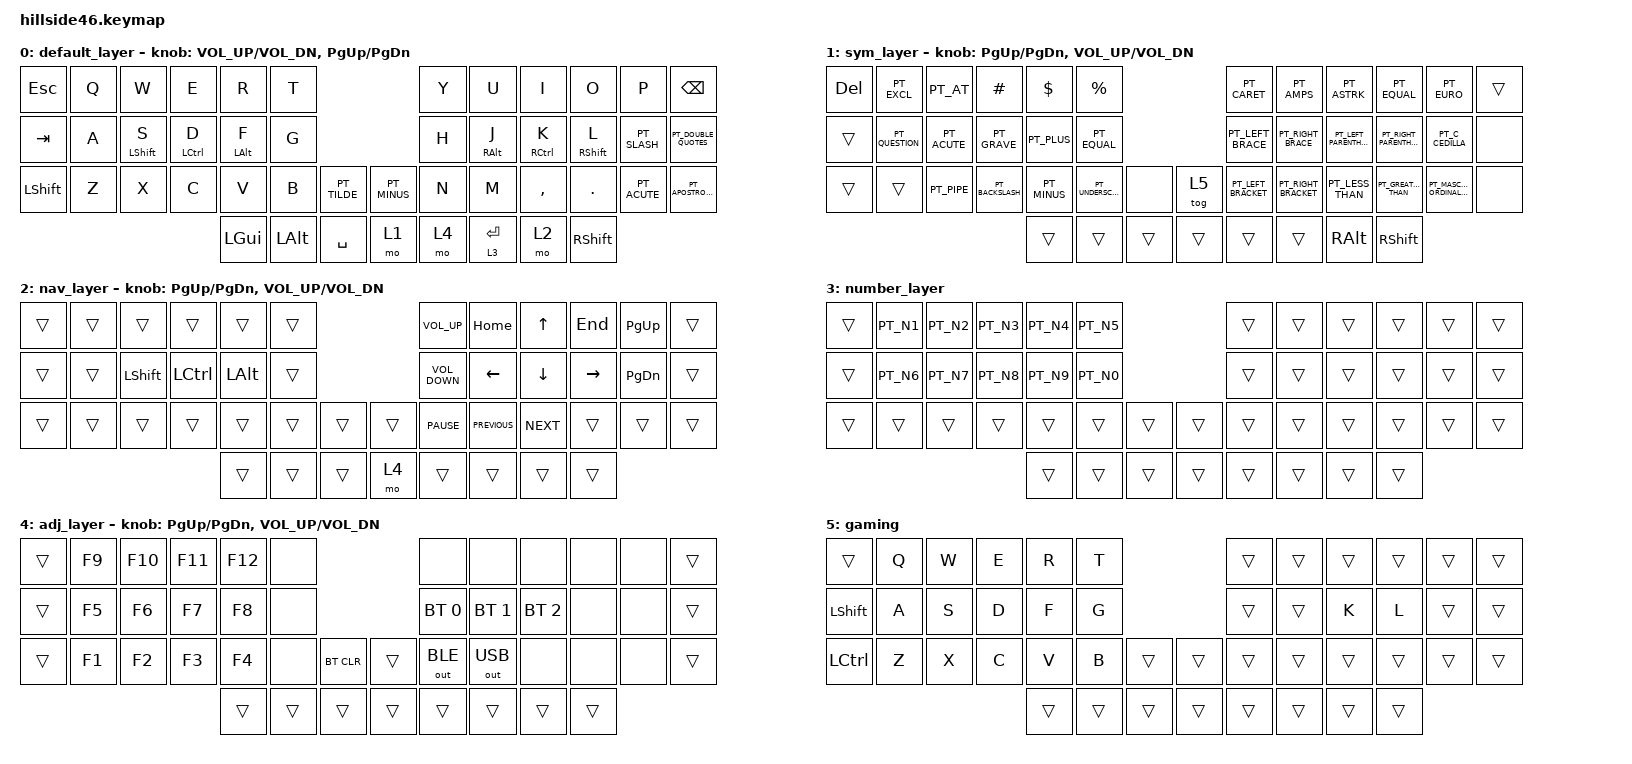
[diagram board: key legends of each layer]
/*
 * Copyright (c) 2021-2022 The ZMK Contributors
 *
 * SPDX-License-Identifier: MIT
 */

#include <behaviors.dtsi>
#include <dt-bindings/zmk/bt.h>
#include <dt-bindings/zmk/keys.h>
#include <dt-bindings/zmk/outputs.h>
#include "keys_pt.h"

#define QWERTY_L 0
#define DVORAK_L 1
#define COLEMK_L 2
#define NAV_L    3
#define SYM_L    4
#define ADJ_L    5
#define Undo   LC(Z)
#define Cut    LC(X)
#define Copy   LC(C)
#define Paste  LC(V)
#define Redo   LC(Y)

/ {
    behaviors {
        home_row_mod_left: home_row_mod_left {
            compatible = "zmk,behavior-hold-tap";
            label = "HOME_ROW_MOD_LEFT";
            bindings = <&kp>, <&kp>;

            #binding-cells = <2>;
            tapping-term-ms = <180>;
            require-prior-idle-ms = <100>;
            quick-tap-ms = <175>;
            hold-trigger-key-positions = <6 7 9 8 10 23 11 22 37 36 35 20 21 34 33 19 32 18 31 44 45 42 43 14 27 28>;
            flavor = "balanced";
            hold-trigger-on-release;
        };

        home_row_mods_right: home_row_mods_right {
            compatible = "zmk,behavior-hold-tap";
            label = "HOME_ROW_MODS_RIGHT";
            bindings = <&kp>, <&kp>;

            #binding-cells = <2>;
            tapping-term-ms = <180>;
            require-prior-idle-ms = <100>;
            quick-tap-ms = <175>;
            flavor = "balanced";
            hold-trigger-on-release;
            hold-trigger-key-positions = <0 1 12 13 14 15 16 17 24 25 26 27 28 29 30 38 39 40 41 0 1 2 3 4 5 14 15 16 17>;
        };
    };

    keymap {
        compatible = "zmk,keymap";

        default_layer {
            /* QWERTY
 * -------------------------------------------------------------------------------------------------------------------------------------
 * | `     |   Q   |   W   |   E   |   R   |   T   |-----------------------------------|   Y   |   U   |   I   |   O   |   P   | BKSPC |
 * | TAB   |   A   |   S   |   D   |   F   |   G   |-----------------------------------|   H   |   J   |   K   |   L   |   ;   | ENTER |
 * | CTRL  |   Z   |   X   |   C   |   V   |   B   |  ESC  |-------------------|  CAPS |   N   |   M   |   ,   |   .   |   /   |   '   |
 *                                 |  GUI  |  ALT  |SK SHFT|  Nav  |---|  Sym  | SPACE |  ALT  |  GUI  |
 */

            bindings = <
&kp ESC         &kp Q  &kp W                            &kp E                       &kp R                          &kp T                                                     &kp Y  &kp U                             &kp I                         &kp O                               &kp P         &kp BSPC
&kp TAB         &kp A  &home_row_mod_left LEFT_SHIFT S  &home_row_mod_left LCTRL D  &home_row_mod_left LEFT_ALT F  &kp G                                                     &kp H  &home_row_mods_right RIGHT_ALT J  &home_row_mods_right RCTRL K  &home_row_mods_right RIGHT_SHIFT L  &kp PT_SLASH  &kp PT_DOUBLE_QUOTES
&kp LEFT_SHIFT  &kp Z  &kp X                            &kp C                       &kp V                          &kp B         &kp PT_TILDE                  &kp PT_MINUS  &kp N  &kp M                             &kp COMMA                     &kp DOT                             &kp PT_ACUTE  &kp PT_APOSTROPHE
                                                                                    &kp LGUI                       &kp LEFT_ALT  &kp SPACE     &mo 1    &mo 4  &lt 3 ENTER   &mo 2  &kp RSHIFT
            >;

            sensor-bindings = <&inc_dec_kp C_VOL_UP C_VOL_DN &inc_dec_kp PG_UP PG_DN>;
        };

        sym_layer {
            /* SYM
 * -------------------------------------------------------------------------------------------------------------------------------------
 * | INS   |   !   |   @   |   #   |   $   |   %   |-----------------------------------|   ^   |   &   |   *   |   (   |   )   | BSPC  |
 * |       |   \   |   -   |   =   |   [   |   ]   |-----------------------------------| HOME  | Shift | Ctrl  | Alt   | Gui   | END   |
 * | Ctrl  |   |   |   _   |   +   |   {   |   }   |SkAltGr|-------------------| MENU  | Mute  | Vol-  | Vol+  | Play  |       | Ctrl  |
 *                                 |       |       |       |  ADJ_L |---|      |       |       |       |
 */

            bindings = <
&kp DELETE  &kp PT_EXCL      &kp PT_AT     &kp HASH          &kp DOLLAR    &kp PERCENT                                          &kp PT_CARET         &kp PT_AMPS           &kp PT_ASTRK             &kp PT_EQUAL              &kp PT_EURO                         &trans
&trans      &kp PT_QUESTION  &kp PT_ACUTE  &kp PT_GRAVE      &kp PT_PLUS   &kp PT_EQUAL                                         &kp PT_LEFT_BRACE    &kp PT_RIGHT_BRACE    &kp PT_LEFT_PARENTHESIS  &kp PT_RIGHT_PARENTHESIS  &kp PT_C_CEDILLA                    &none
&trans      &trans           &kp PT_PIPE   &kp PT_BACKSLASH  &kp PT_MINUS  &kp PT_UNDERSCORE  &none                     &tog 5  &kp PT_LEFT_BRACKET  &kp PT_RIGHT_BRACKET  &kp PT_LESS_THAN         &kp PT_GREATER_THAN       &kp PT_MASCULINE_ORDINAL_INDICATOR  &none
                                                             &trans        &trans             &trans  &trans    &trans  &trans  &kp RIGHT_ALT        &kp RIGHT_SHIFT
            >;

            sensor-bindings = <&inc_dec_kp PG_UP PG_DN &inc_dec_kp C_VOL_UP C_VOL_DN>;
        };

        nav_layer {
            /* NAV
 * -------------------------------------------------------------------------------------------------------------------------------------
 * | Copy  |   1   |   2   |   3   |   4   |   5   |-----------------------------------|   6   |   7   |   8   |   9   |   0   | BSPC  |
 * | Cut   |  GUI  |  Alt  | Ctrl  | Shift | Paste |-----------------------------------| PG UP |  Left |  Up   |  Down | Right | PG DN |
 * | Ctrl  |  F1   |  F2   |  F3   |  F4   |  F5   |  UnDo |-------------------| ReDo  |  F6   |  F7   |  F8   |  F9   |  F10  | Ctrl  |
 *                                 |       |       |       |       |---| ADJ_L |       |       |       |
 */

            bindings = <
&trans  &trans  &trans          &trans            &trans        &trans                                   &kp C_VOLUME_UP    &kp HOME        &kp UP      &kp END    &kp PAGE_UP    &trans
&trans  &trans  &kp LEFT_SHIFT  &kp LEFT_CONTROL  &kp LEFT_ALT  &trans                                   &kp C_VOLUME_DOWN  &kp LEFT        &kp DOWN    &kp RIGHT  &kp PAGE_DOWN  &trans
&trans  &trans  &trans          &trans            &trans        &trans  &trans                   &trans  &kp C_PAUSE        &kp C_PREVIOUS  &kp C_NEXT  &trans     &trans         &trans
                                                  &trans        &trans  &trans  &mo 4    &trans  &trans  &trans             &trans
            >;

            sensor-bindings = <&inc_dec_kp PG_UP PG_DN &inc_dec_kp C_VOL_UP C_VOL_DN>;
        };

        number_layer {
            bindings = <
&trans  &kp PT_N1  &kp PT_N2  &kp PT_N3  &kp PT_N4  &kp PT_N5                                    &trans  &trans  &trans  &trans  &trans  &trans
&trans  &kp PT_N6  &kp PT_N7  &kp PT_N8  &kp PT_N9  &kp PT_N0                                    &trans  &trans  &trans  &trans  &trans  &trans
&trans  &trans     &trans     &trans     &trans     &trans     &trans                    &trans  &trans  &trans  &trans  &trans  &trans  &trans
                                         &trans     &trans     &trans  &trans    &trans  &trans  &trans  &trans
            >;
        };

        adj_layer {
            bindings = <
&trans  &kp F9  &kp F10  &kp F11  &kp F12  &none                                         &none         &none         &none         &none  &none  &trans
&trans  &kp F5  &kp F6   &kp F7   &kp F8   &none                                         &bt BT_SEL 0  &bt BT_SEL 1  &bt BT_SEL 2  &none  &none  &trans
&trans  &kp F1  &kp F2   &kp F3   &kp F4   &none   &bt BT_CLR                    &trans  &out OUT_BLE  &out OUT_USB  &none         &none  &none  &trans
                                  &trans   &trans  &trans      &trans    &trans  &trans  &trans        &trans
            >;

            sensor-bindings =
                <&inc_dec_kp PG_UP PG_DN>,
                <&inc_dec_kp C_VOL_UP C_VOL_DN>;
        };

        gaming {
            bindings = <
&trans          &kp Q  &kp W  &kp E  &kp R   &kp T                                     &trans  &trans  &trans  &trans  &trans  &trans
&kp LEFT_SHIFT  &kp A  &kp S  &kp D  &kp F   &kp G                                     &trans  &trans  &kp K   &kp L   &trans  &trans
&kp LCTRL       &kp Z  &kp X  &kp C  &kp V   &kp B   &trans                    &trans  &trans  &trans  &trans  &trans  &trans  &trans
                                     &trans  &trans  &trans  &trans    &trans  &trans  &trans  &trans
            >;
        };
    };
};
